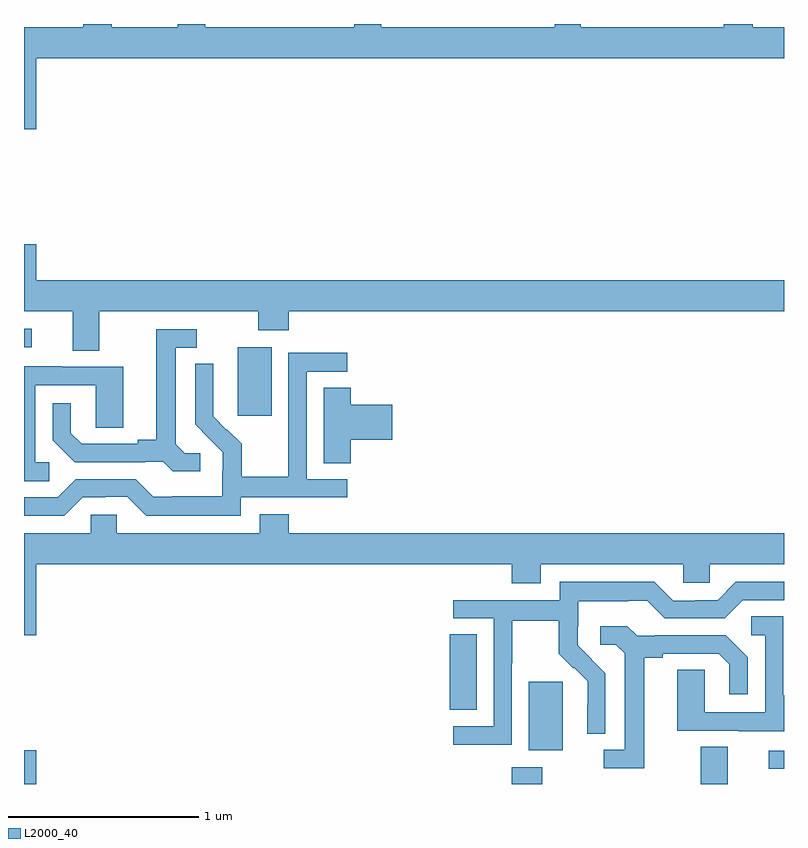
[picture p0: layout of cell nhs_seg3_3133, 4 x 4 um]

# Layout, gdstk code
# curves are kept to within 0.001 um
import gdstk
lib = gdstk.Library(unit=1e-6, precision=1e-09)
def R(c, l, rs):  # rectangles x0, y0, x1, y1
    for r in rs: c.add(gdstk.rectangle(r[:2], r[2:], *l))
def P(c, l, *ps):  # polygons
    for p in ps: c.add(gdstk.Polygon(p, *l))
L2000_40 = (2000, 40)

nhs_seg3_3133 = lib.new_cell('nhs_seg3_3133')
R(nhs_seg3_3133, L2000_40, [(273,726.4,273.064,726.577), (275.567,726.4,275.727,726.487), (276.563,726.4,276.703,726.596), (276.921,726.48,277,726.576), (275.657,726.578,275.836,726.939), (275.24,726.79,275.383,727.187), (274.124,728.337,274.303,728.698), (273,728.7,273.04,728.796)])
P(nhs_seg3_3133, L2000_40, [(273.064,730.22),(277,730.22),(277,730.384),(276.836,730.384),(276.836,730.4),(276.683,730.4),(276.683,730.384),(275.931,730.384),(275.931,730.4),(275.793,730.4),(275.793,730.384),(274.879,730.384),(274.879,730.4),(274.739,730.4),(274.739,730.384),(273.955,730.384),(273.955,730.4),(273.808,730.4),(273.808,730.384),(273.463,730.384),(273.463,730.4),(273.311,730.4),(273.311,730.384),(273,730.384),(273,729.846),(273.064,729.846)],
  [(273.397,728.888),(274.234,728.888),(274.234,728.789),(274.394,728.789),(274.394,728.888),(277,728.888),(277,729.052),(273.064,729.052),(273.064,729.241),(273,729.241),(273,728.888),(273.257,728.888),(273.257,728.68),(273.397,728.68)],
  [(273.928,728.142),(273.846,728.142),(273.799,728.189),(273.799,728.697),(273.91,728.697),(273.91,728.793),(273.695,728.793),(273.695,728.213),(273.599,728.213),(273.599,728.19),(273.304,728.19),(273.247,728.247),(273.247,728.404),(273.15,728.404),(273.15,728.21),(273.266,728.094),(273.638,728.094),(273.638,728.097),(273.732,728.097),(273.784,728.045),(273.928,728.045)],
  [(274.14,727.908),(274.702,727.908),(274.702,728.004),(274.488,728.004),(274.488,728.571),(274.702,728.571),(274.702,728.67),(274.392,728.67),(274.392,728.24),(274.39,728.24),(274.39,728.017),(274.145,728.017),(274.145,728.191),(274.068,728.268),(274.065,728.265),(273.995,728.336),(273.996,728.612),(273.9,728.612),(273.9,728.294),(274.046,728.146),(274.046,728.049),(274.044,728.049),(274.044,727.915),(273.781,727.915),(273.781,727.911),(273.681,727.911),(273.588,728.004),(273.273,728.004),(273.177,727.908),(273,727.908),(273,727.812),(273.213,727.812),(273.309,727.908),(273.428,727.908),(273.428,727.911),(273.543,727.911),(273.643,727.811),(274.14,727.811)],
  [(273.133,728.094),(273.06,728.094),(273.06,728.499),(273.378,728.499),(273.378,728.275),(273.523,728.275),(273.523,728.595),(273.199,728.595),(273.199,728.599),(273,728.599),(273,727.993),(273.133,727.993)],
  [(274.721,728.213),(274.939,728.213),(274.939,728.396),(274.721,728.396),(274.721,728.486),(274.577,728.486),(274.577,728.089),(274.721,728.089)],
  [(273.064,727.556),(275.567,727.556),(275.567,727.457),(275.719,727.457),(275.719,727.556),(276.471,727.556),(276.471,727.458),(276.609,727.458),(276.609,727.556),(277,727.556),(277,727.72),(274.394,727.72),(274.394,727.819),(274.241,727.819),(274.241,727.72),(273.489,727.72),(273.489,727.818),(273.351,727.818),(273.351,727.72),(273,727.72),(273,727.182),(273.064,727.182)],
  [(275.568,727.036),(275.571,727.036),(275.571,727.26),(275.815,727.26),(275.815,727.085),(275.892,727.008),(275.895,727.011),(275.966,726.941),(275.966,726.818),(275.964,726.818),(275.964,726.664),(276.06,726.664),(276.06,726.982),(275.914,727.13),(275.914,727.227),(275.916,727.227),(275.916,727.361),(276.179,727.361),(276.179,727.365),(276.279,727.365),(276.372,727.272),(276.687,727.272),(276.783,727.368),(277,727.368),(277,727.464),(276.747,727.464),(276.651,727.368),(276.533,727.368),(276.533,727.365),(276.417,727.365),(276.317,727.465),(275.82,727.465),(275.82,727.368),(275.259,727.368),(275.259,727.272),(275.472,727.272),(275.472,726.705),(275.259,726.705),(275.259,726.607),(275.568,726.607)],
  [(277,726.867),(276.996,726.867),(276.996,727.283),(276.828,727.283),(276.828,727.182),(276.9,727.182),(276.9,726.777),(276.582,726.777),(276.582,727.001),(276.437,727.001),(276.437,726.681),(276.761,726.681),(276.761,726.677),(277,726.677)],
  [(276.265,727.064),(276.361,727.064),(276.361,727.086),(276.656,727.086),(276.713,727.029),(276.713,726.873),(276.81,726.873),(276.81,727.066),(276.694,727.182),(276.322,727.182),(276.322,727.179),(276.228,727.179),(276.176,727.231),(276.033,727.231),(276.033,727.134),(276.114,727.134),(276.161,727.087),(276.161,726.579),(276.051,726.579),(276.051,726.483),(276.265,726.483)])

lib.write_gds('nhs_seg3_3133.gds')
